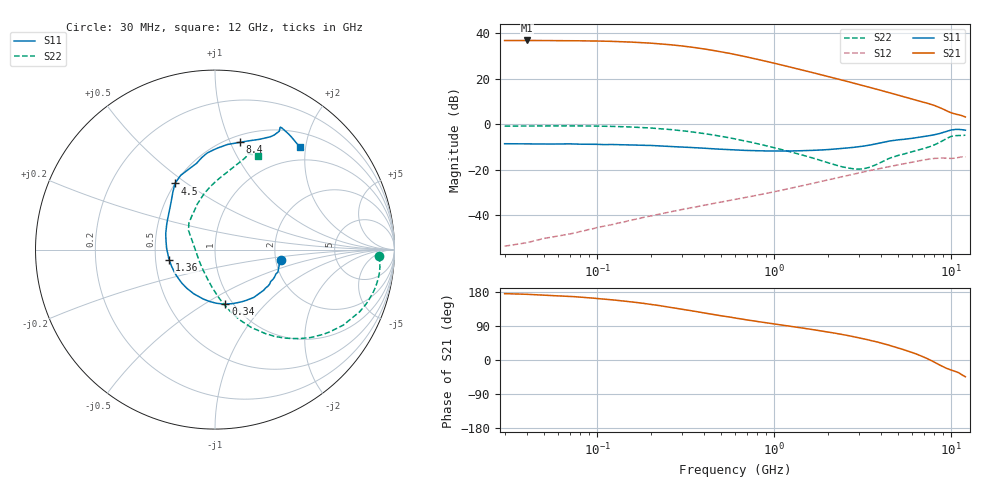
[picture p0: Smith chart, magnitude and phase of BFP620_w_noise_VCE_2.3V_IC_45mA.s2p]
! Infineon Technologies  Discrete & RF Semiconductors
! BFP620
! VCE =  2.3 V,  IC =  45 mA
! Common Emitter S-Parameters:  Nov 2015
# GHz  S  MA  R  50
!  f  S11  S21  S12  S22
! GHz  MAG  ANG  MAG  ANG  MAG  ANG  MAG  ANG
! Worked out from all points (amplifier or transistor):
!   239 points, 30 MHz to 12 GHz, reference 50 ohm
!   highest |S21| = 36.8 dB at 40 MHz (marker M1)
!   |S21| within 3 dB of that: start of sweep to 345.8 MHz
!   unconditionally stable (mu >= 1): 2.04 GHz to end of sweep
!   at 300 MHz: K = 0.49, MSG = 36.0 dB, |S12| = -37.5 dB
!   at 1.88 GHz: K = 0.99, MSG = 23.3 dB, |S12| = -24.9 dB
!   at 12 GHz: K = 1.09, MAG = 6.9 dB, |S12| = -14.3 dB
!   lowest NFmin = 1.42 dB at 450 MHz
!   S11 on the Smith chart (normalised r, x): 30 MHz: 2.15, -0.28; 340 MHz: 0.92, -0.62; 1.36 GHz: 0.59, -0.07; 4.5 GHz: 0.50, +0.45; 8.4 GHz: 0.57, +1.09; 12 GHz: 0.75, +1.89
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0.03  0.3746 -8.6  69.32 175.1  0.0021 75.9  0.9127 -2.3
0.04  0.3712 -11.3  69.54 173.4  0.0025 73.9  0.9194 -4.2
0.05  0.3673 -12.7  69.26 170.8  0.0031 73.3  0.924 -6.0
0.07  0.3719 -19.7  68.98 167.9  0.0039 74.9  0.924 -9.8
0.085  0.3653 -23.2  68.18 165.1  0.0046 74.7  0.9194 -12.5
0.115  0.3588 -31.0  66.79 159.8  0.006 74.3  0.9036 -17.6
0.15  0.3533 -39.8  64.48 154.2  0.0076 73.9  0.8768 -23.3
0.195  0.3437 -49.8  61.07 147.6  0.0095 72.2  0.8333 -29.7
0.24  0.3309 -59.4  57.45 141.4  0.0112 70.7  0.7871 -35.6
0.3  0.3168 -71.9  52.75 134.1  0.0134 69.2  0.7249 -42.5
0.34  0.3091 -79.1  49.66 130.0  0.0147 68.3  0.6842 -46.4
0.45  0.2902 -96.4  42.1 120.2  0.0181 66.7  0.5844 -55.7
0.6  0.2732 -115.6  34.19 110.7  0.0223 65.6  0.4776 -65.1
0.7  0.2667 -125.7  30.12 105.7  0.025 65.1  0.4212 -70.0
0.9  0.2598 -142.2  24.15 98.1  0.0303 64.4  0.3371 -77.9
1.1  0.2587 -154.7  20.07 92.2  0.0357 63.5  0.2786 -84.4
1.36  0.2613 -167.1  16.45 86.2  0.0427 62.1  0.2242 -91.9
1.64  0.2671 -178.8  13.72 80.5  0.0502 60.1  0.1826 -100.5
2.6  0.3026 153.0  8.684 64.5  0.0752 51.8  0.1101 -141.5
4.5  0.4309 121.2  4.896 38.2  0.1185 32.4  0.1814 144.3
8.4  0.6144 76.9  2.415 -10.8  0.18 -8.8  0.3842 88.6
12  0.7412 50.4  1.444 -44.2  0.1925 -37.5  0.5763 65.3
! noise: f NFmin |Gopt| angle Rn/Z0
0.45  1.42  0.26  -165  0.1
0.9  1.43  0.29  -153  0.1
1.9  1.44  0.33  -138  0.12
2.4  1.45  0.33  -136  0.13
3.5  1.5  0.39  -104  0.21
5.5  1.79  0.41  -85  0.29
10  2.1  0.65  -43  1.14
